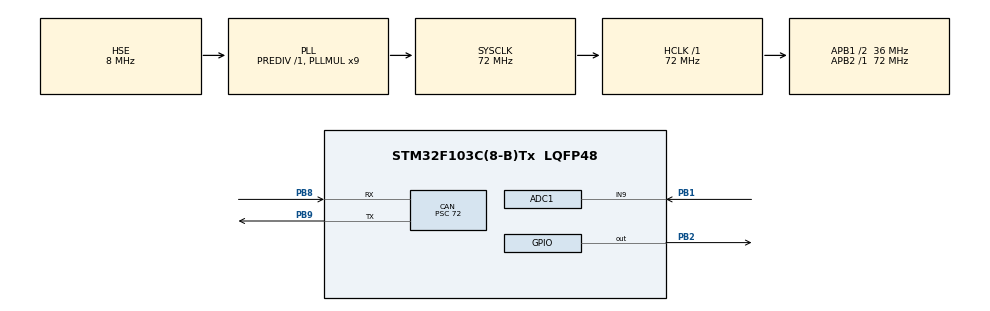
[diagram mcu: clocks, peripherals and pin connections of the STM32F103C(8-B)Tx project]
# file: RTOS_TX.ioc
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ADC1.Channel-0\#ChannelRegularConversion=ADC_CHANNEL_9
ADC1.ContinuousConvMode=ENABLE
ADC1.NbrOfConversionFlag=1
ADC1.Rank-0\#ChannelRegularConversion=1
ADC1.SamplingTime-0\#ChannelRegularConversion=ADC_SAMPLETIME_1CYCLE_5
ADC1.master=1
CAN.BS1=CAN_BS1_2TQ
CAN.CalculateBaudRate=125000
CAN.CalculateTimeBit=8000
CAN.CalculateTimeQuantum=2000.0
CAN.Prescaler=72
FREERTOS.Tasks01=defaultTask,0,128,StartDefaultTask,Default,NULL,Dynamic,NULL,NULL
FREERTOS.configUSE_NEWLIB_REENTRANT=1
Mcu.Family=STM32F1
Mcu.Name=STM32F103C(8-B)Tx
Mcu.Package=LQFP48
NVIC.PriorityGroup=NVIC_PRIORITYGROUP_4
NVIC.TIM1_UP_IRQn=true\:15\:0\:false\:false\:true\:false\:false\:true\:true
NVIC.TimeBase=TIM1_UP_IRQn
NVIC.TimeBaseIP=TIM1
PA13.Mode=Serial_Wire
PA13.Signal=SYS_JTMS-SWDIO
PA14.Mode=Serial_Wire
PA14.Signal=SYS_JTCK-SWCLK
PB1.Signal=ADCx_IN9
PB2.Signal=GPIO_Output
PB8.Mode=CAN_Activate
PB8.Signal=CAN_RX
PB9.Mode=CAN_Activate
PB9.Signal=CAN_TX
PD0-OSC_IN.Mode=HSE-External-Oscillator
PD0-OSC_IN.Signal=RCC_OSC_IN
PD1-OSC_OUT.Mode=HSE-External-Oscillator
PD1-OSC_OUT.Signal=RCC_OSC_OUT
ProjectManager.HeapSize=0x200
ProjectManager.StackSize=0x400
ProjectManager.TargetToolchain=STM32CubeIDE
RCC.ADCPresc=RCC_ADCPCLK2_DIV6
RCC.AHBFreq_Value=72000000
RCC.APB1CLKDivider=RCC_HCLK_DIV2
RCC.APB1Freq_Value=36000000
RCC.APB1TimFreq_Value=72000000
RCC.APB2Freq_Value=72000000
RCC.APB2TimFreq_Value=72000000
RCC.HCLKFreq_Value=72000000
RCC.PLLMUL=RCC_PLL_MUL9
RCC.PLLSourceVirtual=RCC_PLLSOURCE_HSE
RCC.SYSCLKFreq_VALUE=72000000
RCC.SYSCLKSource=RCC_SYSCLKSOURCE_PLLCLK
RCC.USBFreq_Value=72000000
SH.ADCx_IN9.0=ADC1_IN9,IN9
VP_FREERTOS_VS_CMSIS_V1.Mode=CMSIS_V1
VP_SYS_VS_tim1.Mode=TIM1
board=custom

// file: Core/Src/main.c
/* USER CODE BEGIN Header */
/**
  ******************************************************************************
  * @file           : main.c
  * @brief          : Main program body
  ******************************************************************************
  * @attention
  *
  * Copyright (c) 2025 STMicroelectronics.
  * All rights reserved.
  *
  * This software is licensed under terms that can be found in the LICENSE file
  * in the root directory of this software component.
  * If no LICENSE file comes with this software, it is provided AS-IS.
  *
  ******************************************************************************
  */
/* USER CODE END Header */
#include "main.h"

/* USER CODE BEGIN Includes */
#include "FreeRTOS.h"
#include "task.h"
//#include "timers.h"
//#include "queue.h"
//#include "semphr.h"
//#include "event_groups.h"
/* USER CODE END Includes */

ADC_HandleTypeDef hadc1;

CAN_HandleTypeDef hcan;

void SystemClock_Config(void);
static void MX_GPIO_Init(void);
static void MX_ADC1_Init(void);
static void MX_CAN_Init(void);

/* USER CODE BEGIN 0 */
uint16_t readValue;
CAN_TxHeaderTypeDef TxHeader;
uint32_t TxMailbox;
uint8_t TxData[8]="NIZAR---";

TaskHandle_t SendMessage_Handler;
TaskHandle_t ToggleLED_Handler;

void Task_SendMessage (void *argument);
void Task_ToggleLED (void *argument);
/* USER CODE END 0 */

int main(void)
{

  /* MCU Configuration--------------------------------------------------------*/

  /* Reset of all peripherals, Initializes the Flash interface and the Systick. */
  HAL_Init();

  /* Configure the system clock */
  SystemClock_Config();

  /* Initialize all configured peripherals */
  MX_GPIO_Init();
  MX_ADC1_Init();
  MX_CAN_Init();
  /* USER CODE BEGIN 2 */
  HAL_ADC_Start(&hadc1);
  HAL_CAN_Start(&hcan);
  TxHeader.DLC = 8;  // data length
  TxHeader.IDE = CAN_ID_STD;
  TxHeader.RTR = CAN_RTR_DATA;
  TxHeader.StdId = 0x6A5;  // ID can be between Hex1 and Hex7FF (1-2047 decimal)

  xTaskCreate(Task_SendMessage, "SendMessage", 128, NULL, 3, &SendMessage_Handler);
  xTaskCreate(Task_ToggleLED, "ToggleLED", 128, NULL, 1, &ToggleLED_Handler);

  vTaskStartScheduler();

  /* USER CODE END 2 */

  /* Infinite loop */
  while (1)
  {

  }
}

void SystemClock_Config(void)
{
  RCC_OscInitTypeDef RCC_OscInitStruct = {0};
  RCC_ClkInitTypeDef RCC_ClkInitStruct = {0};
  RCC_PeriphCLKInitTypeDef PeriphClkInit = {0};

  /** Initializes the RCC Oscillators according to the specified parameters
  * in the RCC_OscInitTypeDef structure.
  */
  RCC_OscInitStruct.OscillatorType = RCC_OSCILLATORTYPE_HSE;
  RCC_OscInitStruct.HSEState = RCC_HSE_ON;
  RCC_OscInitStruct.HSEPredivValue = RCC_HSE_PREDIV_DIV1;
  RCC_OscInitStruct.HSIState = RCC_HSI_ON;
  RCC_OscInitStruct.PLL.PLLState = RCC_PLL_ON;
  RCC_OscInitStruct.PLL.PLLSource = RCC_PLLSOURCE_HSE;
  RCC_OscInitStruct.PLL.PLLMUL = RCC_PLL_MUL9;
  if (HAL_RCC_OscConfig(&RCC_OscInitStruct) != HAL_OK)
  {
    Error_Handler();
  }

  /** Initializes the CPU, AHB and APB buses clocks
  */
  RCC_ClkInitStruct.ClockType = RCC_CLOCKTYPE_HCLK|RCC_CLOCKTYPE_SYSCLK
                              |RCC_CLOCKTYPE_PCLK1|RCC_CLOCKTYPE_PCLK2;
  RCC_ClkInitStruct.SYSCLKSource = RCC_SYSCLKSOURCE_PLLCLK;
  RCC_ClkInitStruct.AHBCLKDivider = RCC_SYSCLK_DIV1;
  RCC_ClkInitStruct.APB1CLKDivider = RCC_HCLK_DIV2;
  RCC_ClkInitStruct.APB2CLKDivider = RCC_HCLK_DIV1;

  if (HAL_RCC_ClockConfig(&RCC_ClkInitStruct, FLASH_LATENCY_2) != HAL_OK)
  {
    Error_Handler();
  }
  PeriphClkInit.PeriphClockSelection = RCC_PERIPHCLK_ADC;
  PeriphClkInit.AdcClockSelection = RCC_ADCPCLK2_DIV6;
  if (HAL_RCCEx_PeriphCLKConfig(&PeriphClkInit) != HAL_OK)
  {
    Error_Handler();
  }
}

static void MX_ADC1_Init(void)
{

  ADC_ChannelConfTypeDef sConfig = {0};

  /** Common config
  */
  hadc1.Instance = ADC1;
  hadc1.Init.ScanConvMode = ADC_SCAN_DISABLE;
  hadc1.Init.ContinuousConvMode = ENABLE;
  hadc1.Init.DiscontinuousConvMode = DISABLE;
  hadc1.Init.ExternalTrigConv = ADC_SOFTWARE_START;
  hadc1.Init.DataAlign = ADC_DATAALIGN_RIGHT;
  hadc1.Init.NbrOfConversion = 1;
  if (HAL_ADC_Init(&hadc1) != HAL_OK)
  {
    Error_Handler();
  }

  /** Configure Regular Channel
  */
  sConfig.Channel = ADC_CHANNEL_9;
  sConfig.Rank = ADC_REGULAR_RANK_1;
  sConfig.SamplingTime = ADC_SAMPLETIME_1CYCLE_5;
  if (HAL_ADC_ConfigChannel(&hadc1, &sConfig) != HAL_OK)
  {
    Error_Handler();
  }

}

static void MX_CAN_Init(void)
{

  hcan.Instance = CAN1;
  hcan.Init.Prescaler = 72;
  hcan.Init.Mode = CAN_MODE_NORMAL;
  hcan.Init.SyncJumpWidth = CAN_SJW_1TQ;
  hcan.Init.TimeSeg1 = CAN_BS1_2TQ;
  hcan.Init.TimeSeg2 = CAN_BS2_1TQ;
  hcan.Init.TimeTriggeredMode = DISABLE;
  hcan.Init.AutoBusOff = DISABLE;
  hcan.Init.AutoWakeUp = DISABLE;
  hcan.Init.AutoRetransmission = DISABLE;
  hcan.Init.ReceiveFifoLocked = DISABLE;
  hcan.Init.TransmitFifoPriority = DISABLE;
  if (HAL_CAN_Init(&hcan) != HAL_OK)
  {
    Error_Handler();
  }

}

static void MX_GPIO_Init(void)
{
  GPIO_InitTypeDef GPIO_InitStruct = {0};

  /* GPIO Ports Clock Enable */
  __HAL_RCC_GPIOD_CLK_ENABLE();
  __HAL_RCC_GPIOB_CLK_ENABLE();
  __HAL_RCC_GPIOA_CLK_ENABLE();

  /*Configure GPIO pin Output Level */
  HAL_GPIO_WritePin(GPIOB, GPIO_PIN_2, GPIO_PIN_RESET);

  /*Configure GPIO pin : PB2 */
  GPIO_InitStruct.Pin = GPIO_PIN_2;
  GPIO_InitStruct.Mode = GPIO_MODE_OUTPUT_PP;
  GPIO_InitStruct.Pull = GPIO_NOPULL;
  GPIO_InitStruct.Speed = GPIO_SPEED_FREQ_LOW;
  HAL_GPIO_Init(GPIOB, &GPIO_InitStruct);

}

/* USER CODE BEGIN 4 */

void Task_SendMessage(void *argument)
{
	while(1){
		  HAL_ADC_PollForConversion(&hadc1,1000);
		  readValue = HAL_ADC_GetValue(&hadc1);
		  // readValue is between 0-4095 but we need to transmit maximum 255 (one byte)
		  // We divide readValue by 16 to get 0-255. Better way to divide is by shifting bits
		  // (readValue >> 4) is same as (readValue / 16)
		  TxData[7] = readValue >> 4;
		  HAL_CAN_AddTxMessage(&hcan, &TxHeader, TxData, &TxMailbox);
		  vTaskDelay(200);
	}
}

void Task_ToggleLED(void *argument){
	while(1){
		HAL_GPIO_TogglePin(GPIOB, GPIO_PIN_2);
		vTaskDelay(TxData[7]);
	}
}

/* USER CODE END 4 */

void HAL_TIM_PeriodElapsedCallback(TIM_HandleTypeDef *htim)
{
  if (htim->Instance == TIM1)
  {
    HAL_IncTick();
  }
}

void Error_Handler(void)
{
  __disable_irq();
  while (1)
  {
  }
}
